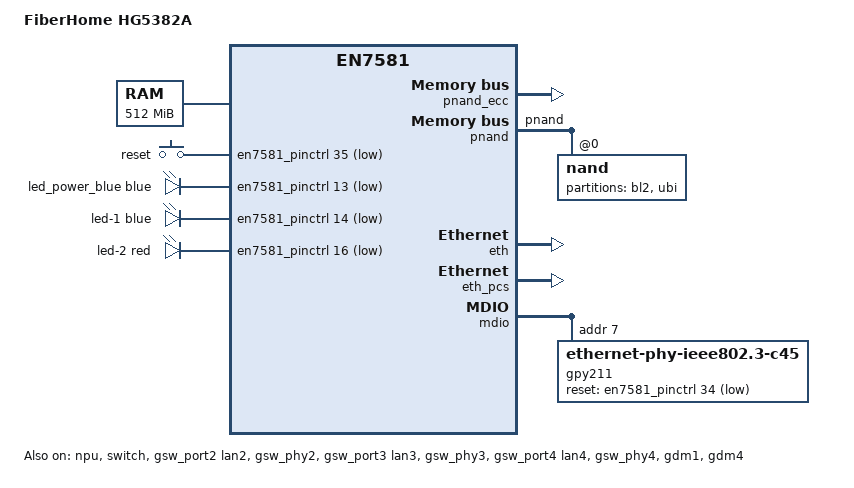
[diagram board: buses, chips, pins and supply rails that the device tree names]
// SPDX-License-Identifier: (GPL-2.0-only OR BSD-2-Clause)

/dts-v1/;

#include <dt-bindings/gpio/gpio.h>
#include <dt-bindings/input/input.h>
#include <dt-bindings/leds/common.h>
#include "an7581.dtsi"

/*
 * FiberHome HG5382A：1x 2.5G（外置 MaxLinear GPY211）+ 3x 千兆交换机口，
 * 上行是 PON。本固件不带 PON 驱动，只当路由器 / 交换机用，所以不描述
 * xpon_mac、BOSA（i2c0@0x51）和 gdm2。
 *
 * 闪存是 8 位 TSOP48 并口 NAND（Winbond W29N02KVSIAF，ef:da，2 Gbit，
 * 2K 页 / 128K 块 / 128 字节 OOB），走 pnand 而不是 snfi。它不支持 ONFI，
 * 几何与 ECC 靠 patches-6.18/904 的完整 ID；ECC4、每扇区 spare 28，与
 * U-Boot、BL2 以及 pbs05 的 U-Boot 一致（原厂引导是 ECC8）。BootROM 从
 * 第一个块的 0x800 处取 BL2，其余整片 UBI，与 U-Boot 的 bl2 128K + ubi
 * 分区一致。
 *
 * MAC 不在这里用 nvmem 指定：出厂 MAC 在 factory 卷 0x2000（与 pbs05/ponwrt
 * 相同），但这个卷要用户自己写进来，声明了而卷缺失，airoha_eth 会永久停在
 * deferred probe。由 base-files/lib/preinit/90_airoha_ubi_mac 读卷应用，
 * 没有就用首次开机生成并固化到 /etc 的随机 MAC（同 ZN504XG-D）。
 */

/ {
	model = "FiberHome HG5382A";
	compatible = "fiberhome,hg5382a", "airoha,an7581", "airoha,en7581";

	aliases {
		serial0 = &uart1;
		led-boot = &led_power_blue;
		led-failsafe = &led_power_blue;
		led-running = &led_power_blue;
		led-upgrade = &led_power_blue;
	};

	chosen {
		bootargs = "console=ttyS0,115200 earlycon";
		stdout-path = "serial0:115200n8";
		linux,usable-memory-range = <0x0 0x80200000 0x0 0x7fe00000>;
		rootdisk = <&ubi_fit>;
	};

	memory@80000000 {
		device_type = "memory";
		reg = <0x0 0x80000000 0x0 0x20000000>;
	};

	gpio-keys {
		compatible = "gpio-keys";

		button-0 {
			label = "reset";
			linux,code = <KEY_RESTART>;
			gpios = <&en7581_pinctrl 35 GPIO_ACTIVE_LOW>;
			debounce-interval = <60>;
		};
	};

	leds {
		compatible = "gpio-leds";

		led_power_blue: led-0 {
			color = <LED_COLOR_ID_BLUE>;
			function = LED_FUNCTION_POWER;
			gpios = <&en7581_pinctrl 13 GPIO_ACTIVE_LOW>;
			panic-indicator;
		};

		/* 光猫的「注册」灯，当路由器时没有对应状态，不挂触发器 */
		led-1 {
			color = <LED_COLOR_ID_BLUE>;
			function = LED_FUNCTION_WAN;
			gpios = <&en7581_pinctrl 14 GPIO_ACTIVE_LOW>;
		};

		/* 光猫的「光信号」(LOS) 灯，同上 */
		led-2 {
			color = <LED_COLOR_ID_RED>;
			function = LED_FUNCTION_WAN;
			gpios = <&en7581_pinctrl 16 GPIO_ACTIVE_LOW>;
		};
	};
};

&en7581_pinctrl {
	gpio-ranges = <&en7581_pinctrl 0 13 50>;

	mdio_pins: mdio-pins {
		mux {
			function = "mdio";
			groups = "mdio";
		};
	};

	pnand_pins: pnand-pins {
		mux {
			function = "pnand";
			groups = "pnand";
		};
	};
};

&pnand_ecc {
	status = "okay";
};

&pnand {
	pinctrl-names = "default";
	pinctrl-0 = <&pnand_pins>;
	status = "okay";

	nand@0 {
		reg = <0>;
		nand-bus-width = <8>;

		/*
		 * ECC 强度按补丁 904 的完整 ID 表取（Winbond W29N02KV，ef:da，
		 * 不是 ONFI，4 bit / 512 B），
		 * 与 BL2、U-Boot 写入的页布局一致，不能在这里另指定。
		 */
		nand-ecc-mode = "hw";

		partitions {
			compatible = "fixed-partitions";
			#address-cells = <1>;
			#size-cells = <1>;

			partition@0 {
				label = "bl2";
				reg = <0x0 0x20000>;
				read-only;
			};

			/* 长度 0 表示到芯片末尾，换了容量不同的料也不用改 */
			partition@20000 {
				label = "ubi";
				reg = <0x20000 0x0>;
				compatible = "linux,ubi";

				volumes {
					ubi_fit: ubi-volume-fit {
						volname = "fit";
					};

					ubi-volume-fip {
						volname = "fip";
					};

					ubi_env: ubi-volume-ubootenv {
						volname = "ubootenv";
					};

					ubi_env2: ubi-volume-ubootenv2 {
						volname = "ubootenv2";
					};
				};
			};
		};
	};
};

&ubi_env {
	nvmem-layout {
		compatible = "u-boot,env-redundant-bool-layout";
	};
};

&ubi_env2 {
	nvmem-layout {
		compatible = "u-boot,env-redundant-bool-layout";
	};
};

&npu {
	status = "okay";
};

&eth {
	status = "okay";
};

&eth_pcs {
	status = "okay";
};

&mdio {
	/* GPY211 在交换机 MDIO 的地址 7，复位是低有效的 GPIO34 */
	gpy211: ethernet-phy@7 {
		compatible = "ethernet-phy-ieee802.3-c45";
		reg = <7>;

		reset-gpios = <&en7581_pinctrl 34 GPIO_ACTIVE_LOW>;
		reset-assert-us = <100000>;
		reset-deassert-us = <100000>;
	};
};

&switch {
	status = "okay";

	pinctrl-names = "default";
	pinctrl-0 = <&mdio_pins>;
};

&gsw_port2 {
	status = "okay";

	label = "lan2";
};

&gsw_phy2 {
	status = "okay";

	interrupts = <2>;
};

&gsw_port3 {
	status = "okay";

	label = "lan3";
};

&gsw_phy3 {
	status = "okay";

	interrupts = <3>;
};

&gsw_port4 {
	status = "okay";

	label = "lan4";
};

&gsw_phy4 {
	status = "okay";

	interrupts = <4>;
};

&gdm1 {
	status = "okay";
};

&gdm4 {
	status = "okay";

	openwrt,netdev-name = "lan1";

	phy-handle = <&gpy211>;
	phy-mode = "2500base-x";
};
